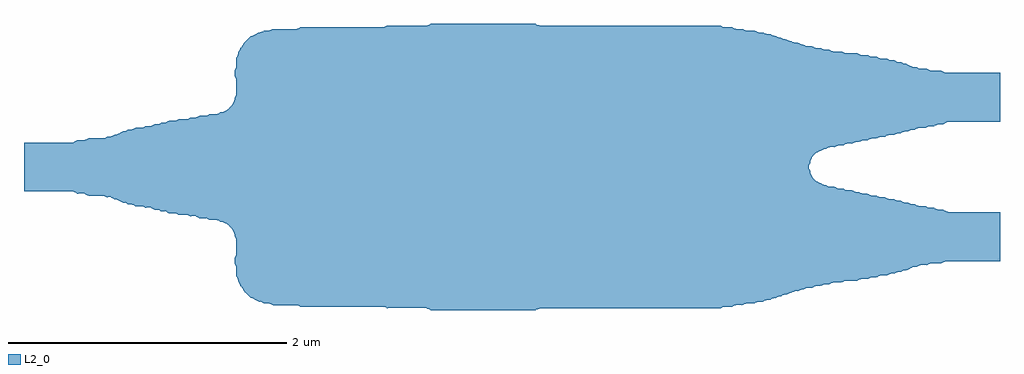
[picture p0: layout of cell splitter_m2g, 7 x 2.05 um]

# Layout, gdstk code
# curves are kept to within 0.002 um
import gdstk
lib = gdstk.Library(unit=1e-6, precision=1e-09)
def P(c, l, *ps):  # polygons
    for p in ps: c.add(gdstk.Polygon(p, *l))
L2_0 = (2, 0)

splitter_m2g = lib.new_cell('splitter_m2g')
P(splitter_m2g, L2_0, [(-2.633,-0.29),(-2.653,-0.28),(-2.701,-0.28),(-2.727,-0.268),(-2.749,-0.268),(-2.772,-0.257),(-2.794,-0.253),(-2.834,-0.232),(-2.851,-0.23),(-2.876,-0.218),(-2.906,-0.216),(-2.925,-0.206),(-3.037,-0.205),(-3.064,-0.193),(-3.115,-0.192),(-3.151,-0.175),(-3.5,-0.175),(-3.5,0.175),(-3.151,0.175),(-3.115,0.192),(-3.069,0.192),(-3.037,0.205),(-2.928,0.205),(-2.902,0.217),(-2.88,0.217),(-2.85,0.23),(-2.834,0.232),(-2.796,0.252),(-2.774,0.256),(-2.752,0.267),(-2.725,0.268),(-2.699,0.28),(-2.652,0.28),(-2.632,0.29)],
  [(2.866,0.268),(2.866,0.72),(2.882,0.715),(2.902,0.715),(2.927,0.703),(2.974,0.703),(3,0.691),(3.077,0.69),(3.111,0.675),(3.5,0.675),(3.5,0.325),(3.128,0.325),(3.117,0.322),(3.087,0.305),(3.052,0.305),(3.022,0.292),(2.987,0.292),(2.961,0.28),(2.914,0.28),(2.888,0.268)],
  [(2.866,-0.721),(2.866,-0.268),(2.888,-0.268),(2.914,-0.28),(2.959,-0.28),(2.992,-0.293),(3.026,-0.293),(3.051,-0.305),(3.085,-0.305),(3.111,-0.317),(3.139,-0.325),(3.5,-0.325),(3.5,-0.675),(3.11,-0.675),(3.074,-0.691),(3.002,-0.691),(2.975,-0.703),(2.928,-0.703),(2.902,-0.715),(2.877,-0.716)],
  [(-2.166,-0.379),(-2.192,-0.367),(-2.239,-0.367),(-2.265,-0.355),(-2.304,-0.354),(-2.329,-0.342),(-2.39,-0.342),(-2.415,-0.33),(-2.462,-0.33),(-2.492,-0.317),(-2.515,-0.317),(-2.541,-0.305),(-2.567,-0.304),(-2.588,-0.293),(-2.632,-0.29),(-2.632,0.29),(-2.591,0.292),(-2.561,0.305),(-2.536,0.306),(-2.514,0.317),(-2.491,0.317),(-2.465,0.329),(-2.414,0.33),(-2.387,0.342),(-2.328,0.342),(-2.306,0.353),(-2.269,0.354),(-2.239,0.367),(-2.19,0.367),(-2.165,0.379)],
  [(-1.954,-0.837),(-1.964,-0.818),(-1.966,-0.802),(-1.977,-0.779),(-1.978,-0.717),(-1.99,-0.691),(-1.99,-0.654),(-1.978,-0.628),(-1.978,-0.516),(-1.989,-0.495),(-1.991,-0.478),(-2.009,-0.442),(-2.045,-0.408),(-2.073,-0.394),(-2.09,-0.392),(-2.115,-0.38),(-2.165,-0.379),(-2.165,0.379),(-2.118,0.379),(-2.095,0.39),(-2.074,0.393),(-2.042,0.409),(-2.01,0.44),(-1.991,0.477),(-1.99,0.491),(-1.978,0.516),(-1.978,0.627),(-1.99,0.654),(-1.99,0.69),(-1.978,0.717),(-1.977,0.779),(-1.966,0.801),(-1.964,0.818),(-1.954,0.837)],
  [(-0.582,-1.026),(-0.611,-1.014),(-0.892,-1.014),(-0.918,-1.002),(-1.516,-1.002),(-1.542,-0.99),(-1.712,-0.99),(-1.738,-0.978),(-1.777,-0.977),(-1.803,-0.965),(-1.82,-0.963),(-1.879,-0.933),(-1.921,-0.891),(-1.934,-0.865),(-1.944,-0.856),(-1.954,-0.837),(-1.954,0.837),(-1.944,0.856),(-1.934,0.865),(-1.92,0.892),(-1.877,0.934),(-1.816,0.964),(-1.802,0.965),(-1.777,0.977),(-1.741,0.977),(-1.716,0.989),(-1.544,0.989),(-1.514,1.002),(-0.918,1.002),(-0.892,1.014),(-0.608,1.014),(-0.582,1.026)],
  [(-0.579,-1.027),(-0.582,-1.026),(-0.582,1.026),(0.166,1.027),(0.196,1.014),(1.49,1.014),(1.515,1.002),(1.576,1.002),(1.606,0.989),(1.653,0.989),(1.679,0.977),(1.739,0.977),(1.764,0.965),(1.803,0.964),(1.828,0.952),(1.852,0.952),(1.875,0.941),(1.894,0.938),(1.916,0.927),(1.916,-0.928),(1.888,-0.94),(1.875,-0.941),(1.852,-0.952),(1.83,-0.952),(1.8,-0.965),(1.766,-0.965),(1.741,-0.977),(1.679,-0.977),(1.649,-0.99),(1.603,-0.99),(1.578,-1.002),(1.518,-1.002),(1.492,-1.014),(0.199,-1.014),(0.168,-1.027)],
  [(1.916,-0.928),(1.916,0.927),(1.927,0.927),(1.949,0.916),(1.965,0.914),(1.985,0.904),(2.006,0.901),(2.027,0.89),(2.054,0.889),(2.079,0.877),(2.09,0.877),(2.115,0.865),(2.15,0.865),(2.159,0.862),(2.159,0.081),(2.14,0.044),(2.139,0.03),(2.127,0.005),(2.127,-0.005),(2.138,-0.027),(2.142,-0.05),(2.159,-0.082),(2.159,-0.862),(2.152,-0.865),(2.117,-0.865),(2.094,-0.876),(2.077,-0.878),(2.051,-0.89),(2.025,-0.891),(2.004,-0.902),(1.989,-0.903),(1.967,-0.914),(1.954,-0.915),(1.931,-0.926)],
  [(2.159,0.081),(2.159,0.862),(2.18,0.852),(2.214,0.852),(2.241,0.84),(2.275,0.84),(2.305,0.827),(2.366,0.827),(2.38,0.82),(2.38,0.157),(2.343,0.156),(2.313,0.143),(2.278,0.143),(2.252,0.131),(2.238,0.13),(2.179,0.101)],
  [(2.159,-0.862),(2.16,-0.082),(2.179,-0.101),(2.235,-0.129),(2.255,-0.132),(2.277,-0.143),(2.316,-0.144),(2.341,-0.156),(2.38,-0.157),(2.38,-0.82),(2.361,-0.828),(2.302,-0.828),(2.277,-0.84),(2.242,-0.84),(2.217,-0.852),(2.178,-0.853)],
  [(2.38,0.157),(2.38,0.82),(2.391,0.815),(2.475,0.815),(2.506,0.802),(2.553,0.802),(2.579,0.79),(2.616,0.789),(2.637,0.779),(2.637,0.217),(2.614,0.206),(2.578,0.205),(2.551,0.193),(2.517,0.193),(2.49,0.181),(2.463,0.18),(2.438,0.168),(2.402,0.168)],
  [(2.38,-0.82),(2.38,-0.157),(2.401,-0.168),(2.436,-0.168),(2.466,-0.181),(2.488,-0.181),(2.511,-0.192),(2.549,-0.193),(2.575,-0.205),(2.614,-0.206),(2.637,-0.217),(2.637,-0.779),(2.618,-0.789),(2.572,-0.792),(2.549,-0.803),(2.502,-0.803),(2.477,-0.815),(2.393,-0.815)],
  [(2.637,0.217),(2.637,0.779),(2.684,0.778),(2.712,0.766),(2.738,0.765),(2.763,0.753),(2.79,0.752),(2.812,0.741),(2.826,0.74),(2.866,0.72),(2.866,0.268),(2.836,0.255),(2.814,0.255),(2.789,0.243),(2.762,0.242),(2.74,0.231),(2.701,0.23),(2.676,0.218)],
  [(2.637,-0.779),(2.637,-0.217),(2.675,-0.218),(2.701,-0.23),(2.742,-0.232),(2.758,-0.241),(2.787,-0.243),(2.813,-0.255),(2.839,-0.256),(2.866,-0.268),(2.866,-0.721),(2.828,-0.74),(2.81,-0.742),(2.787,-0.753),(2.765,-0.753),(2.74,-0.765),(2.71,-0.767),(2.687,-0.778)])

lib.write_gds('splitter_m2g.gds')
